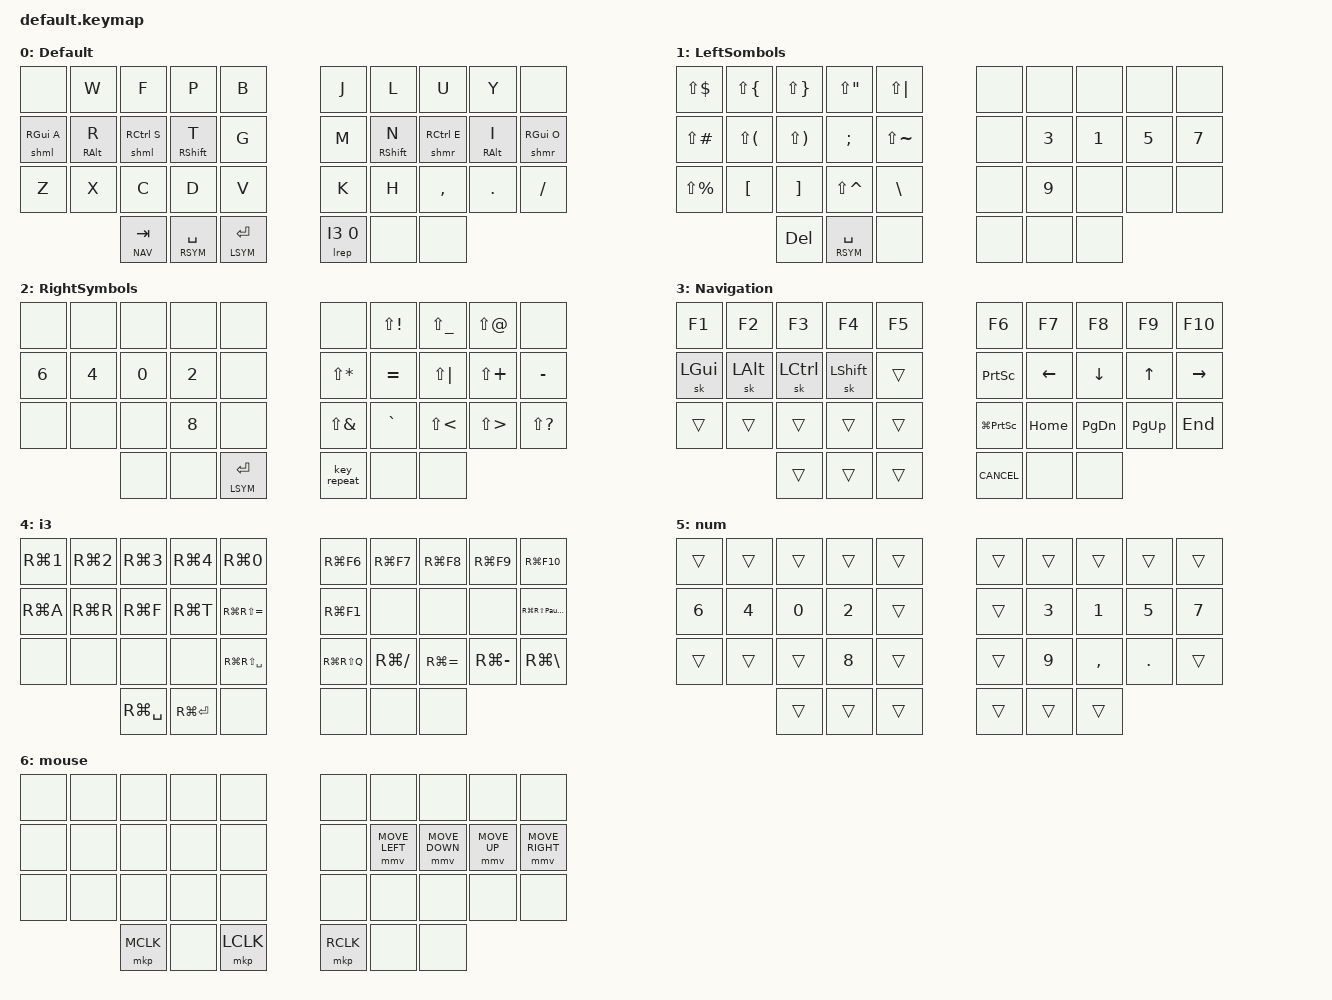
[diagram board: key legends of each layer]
#define ZMK_POINTING_DEFAULT_MOVE_VAL 800

#include <behaviors.dtsi>
#include <behaviors/num_word.dtsi>
#include <dt-bindings/zmk/keys.h>
#include <dt-bindings/zmk/bt.h>
#include <dt-bindings/zmk/pointing.h>
#include "zmk-helpers/helper.h"
#include "zmk-helpers/key-labels/36.h"

#define DEF 0
#define LSYM 1
#define RSYM 2
#define NAV 3
#define I3 4
#define NUM 5
#define MOUSE 6

#define KEYS_L LT0 LT1 LT2 LT3 LT4 LM0 LM1 LM2 LM3 LM4 LB0 LB1 LB2 LB3 LB4  // left-hand keys
#define KEYS_R RT0 RT1 RT2 RT3 RT4 RM0 RM1 RM2 RM3 RM4 RB0 RB1 RB2 RB3 RB4  // right-hand keys
#define THUMBS LH2 LH1 LH0 RH0 RH1 RH2                                      // thumb keys 

/* mouse emulation config */
&mmv {
    time-to-max-speed-ms = <500>;    /* Time in ms it takes to reach maximum speed */
    acceleration-exponent = <1>;    /* 0=uniform, 1=uniform accel, 2=linear/quadratic curves */
};

/* left-hand text HRMs */
ZMK_HOLD_TAP(hml,
    flavor = "balanced";
    tapping-term-ms = <400>;
    quick-tap-ms = <175>;                // repeat on tap-into-hold
    require-prior-idle-ms = <50>;
    bindings = <&kp>, <&kp>;
    hold-trigger-key-positions = <KEYS_R THUMBS>;
    hold-trigger-on-release;             // delay positional check until key-release
)

/* left-hand slow HRMs */
ZMK_HOLD_TAP(shml,
    flavor = "balanced";
    tapping-term-ms = <300>;
    quick-tap-ms = <175>;                // repeat on tap-into-hold
    require-prior-idle-ms = <280>;
    bindings = <&kp>, <&kp>;
    hold-trigger-key-positions = <KEYS_R THUMBS>;
    hold-trigger-on-release;             // delay positional check until key-release
)

/* right-hand text HRMs */
ZMK_HOLD_TAP(hmr,
    flavor = "balanced";
    tapping-term-ms = <400>;
    quick-tap-ms = <175>;                // repeat on tap-into-hold
    require-prior-idle-ms = <50>;
    bindings = <&kp>, <&kp>;
    hold-trigger-key-positions = <KEYS_L THUMBS>;
    hold-trigger-on-release;             // delay positional check until key-release
)

/* right-hand slow HRMs */
ZMK_HOLD_TAP(shmr,
    flavor = "balanced";
    tapping-term-ms = <300>;
    quick-tap-ms = <175>;                // repeat on tap-into-hold
    require-prior-idle-ms = <280>;
    bindings = <&kp>, <&kp>;
    hold-trigger-key-positions = <KEYS_L THUMBS>;
    hold-trigger-on-release;             // delay positional check until key-release
)

/* Hold - tab repeat */
ZMK_HOLD_TAP(lrep,
    flavor = "balanced";
    tapping-term-ms = <150>;
    quick-tap-ms = <80>;
    require-prior-idle-ms = <200>;
    bindings = <&mo>, <&key_repeat>;
)

&caps_word {
    /delete-property/ ignore-modifiers;
};

&sk {
    release-after-ms = <2000>;
    quick-release;
};

&num_word {
  continue-list = <X MINUS DEL BSPC>;
};

/ {
    macros {
     brk_sk_l: brk_sk_l {
            compatible = "zmk,behavior-macro";
            #binding-cells = <0>;
            bindings = <&macro_tap &kp F24 &macro_tap &sk LSHFT>;
        };
        brk_sk_r: brk_sk_r {
            compatible = "zmk,behavior-macro";
            #binding-cells = <0>;
            bindings = <&macro_tap &kp F24 &macro_tap &sk RSHFT>;
        };
    };

    combos {
        compatible = "zmk,combos";

        q {
            bindings = <&kp Q>;
            key-positions = <3 2>;
            layers = <DEF>;
        };

        backspace {
            bindings = <&kp BACKSPACE>;
            key-positions = <3 4>;
            layers = <DEF>;
        };

        dollar {
            bindings = <&kp DOLLAR>;
            key-positions = <1 2>;
        };

        esc {
            bindings = <&kp ESCAPE>;
            key-positions = <8 9>;
            layers = <DEF>;
        };

        lock {
            bindings = <&kp RG(PAUSE_BREAK)>;
            key-positions = <0 1 8 9>;
            layers = <DEF>;
        };

        symbolReturn {
            bindings = <&kp RETURN>;
            key-positions = <17 18>;
            layers = <LSYM>;
        };

        symbolSpace {
            bindings = <&kp SPACE>;
            key-positions = <11 12>;
            layers = <RSYM>;
        };

        delete {
            bindings = <&kp DELETE>;
            key-positions = <0 1>;
            layers = <DEF>;
        };

        apostrophe {
            bindings = <&kp SQT>;
            key-positions = <7 8>;
            layers = <ALL>;
        };

        colon {
            bindings = <&kp COLON>;
            key-positions = <6 7>;
            layers = <ALL>;
        };

        NumWord {
            bindings = <&num_word NUM>;
            key-positions = <2 7>;
        };

        CapsWord {
            bindings = <&caps_word>;
            key-positions = <23 26>;
        };

        altDot {
            bindings = <&kp LA(DOT)>;
            key-positions = <27 28>;
            layers = <DEF>;
        };

        mouseLayer {
            bindings = <&mo MOUSE>;
            key-positions = <1 3>;


            layers = <DEF>;
        };

        leftStickyShift {
            timeout-ms = <40>;
            bindings = <&brk_sk_l>;
            key-positions = <12 23>;
            layers = <DEF>;
        };

        rightStickyShift {
            timeout-ms = <40>;
            bindings = <&brk_sk_r>;
            key-positions = <17 26>;
            layers = <DEF>;
        };
    };

    keymap {
        compatible = "zmk,keymap";

        Default {
            bindings = <
&none          &kp W        &kp F          &kp P             &kp B           &kp J      &kp L          &kp U           &kp Y          &none
&shml RGUI A   &hml RALT R  &shml RCTRL S  &hml RSHFT T      &kp G           &kp M      &hmr RSHIFT N  &shmr RCTRL E    &hmr RALT I    &shmr RGUI O
&kp Z          &kp X        &kp C          &kp D             &kp V           &kp K      &kp H          &kp COMMA       &kp DOT        &kp FSLH
                                    &lt NAV TAB       &lt RSYM SPACE &lt LSYM RET  &lrep I3 0 &none &none
            >;
        };

        LeftSombols {
            bindings = <
&kp LS(DLLR)   &kp LS(LBRC)  &kp LS(RBRC)  &kp LS(DQT)    &kp LS(PIPE)     &none  &none  &none  &none  &none
&kp LS(POUND)  &kp LS(LPAR)  &kp LS(RPAR)  &kp SEMI       &kp LS(TILDE)    &none  &kp N3  &kp N1  &kp N5  &kp N7
&kp LS(PRCNT)  &kp LBKT      &kp RBKT      &kp LS(CARET)  &kp BSLH         &none   &kp N9  &none  &none  &none
                              &kp DEL        &lt RSYM SPACE &none &none    &none  &none
            >;
        };

        RightSymbols {
            bindings = <
&none   &none   &none   &none   &none         &none         &kp LS(EXCL)  &kp LS(UNDER)  &kp LS(AT)    &none
&kp N6  &kp N4  &kp N0  &kp N2  &none         &kp LS(STAR)  &kp EQUAL     &kp LS(PIPE)   &kp LS(PLUS)  &kp MINUS
&none   &none   &none   &kp N8  &none         &kp LS(AMPS)  &kp GRAVE     &kp LS(LT)     &kp LS(GT)    &kp LS(QMARK)
            &none        &none &lt LSYM RET  &key_repeat  &none         &none
            >;
        };

        Navigation {
            bindings = <
&kp F1   &kp F2    &kp F3     &kp F4     &kp F5      &kp F6         &kp F7          &kp F8      &kp F9      &kp F10
&sk LGUI &sk LALT  &sk LCTRL  &sk LSHFT  &trans      &kp PSCRN      &kp LEFT        &kp DOWN    &kp UP      &kp RIGHT
&trans   &trans    &trans     &trans     &trans      &kp LG(PSCRN)  &kp HOME        &kp PG_DN   &kp PG_UP   &kp END
                 &trans     &trans     &trans         &kp K_CANCEL  &none &none 
                    >;
        };

        i3 {
            bindings = <
&kp RG(N1)  &kp RG(N2)  &kp RG(N3)  &kp RG(N4)          &kp RG(N0)            &kp RG(F6)     &kp RG(F7)    &kp RG(F8)    &kp RG(F9)    &kp RG(F10) 
&kp RG(A)   &kp RG(R)   &kp RG(F)   &kp RG(T)  &kp RG(RS(EQUAL))     &kp RG(F1)     &none         &none         &none         &kp RG(RS(PAUSE_BREAK))
&none       &none       &none       &none               &kp RG(RS(SPACE))     &kp RG(RS(Q))  &kp RG(SLASH) &kp RG(EQUAL) &kp RG(MINUS) &kp RG(BACKSLASH)
                             &kp RG(SPACE)       &kp RG(ENTER) &none          &none          &none     &none
            >;
        };

        num {
            bindings = <
        &trans   &trans   &trans   &trans   &trans   &trans   &trans   &trans   &trans   &trans
        &kp N6   &kp N4   &kp N0   &kp N2   &trans   &trans   &kp N3   &kp N1   &kp N5   &kp N7
        &trans   &trans   &trans   &kp N8   &trans   &trans   &kp N9   &kp COMMA   &kp DOT   &trans
                          &trans   &trans   &trans   &trans   &trans   &trans
            >;
        };

        mouse {
            bindings = <
        &none   &none   &none   &none       &none    &none   &none   &none   &none   &none
        &none   &none   &none   &none       &none    &none   &mmv MOVE_LEFT   &mmv MOVE_DOWN   &mmv MOVE_UP   &mmv MOVE_RIGHT    
        &none   &none   &none   &none       &none    &none   &none   &none   &none   &none
                        &mkp MCLK  &none   &mkp LCLK   &mkp RCLK &none   &none
            >;
        };
    };
};
